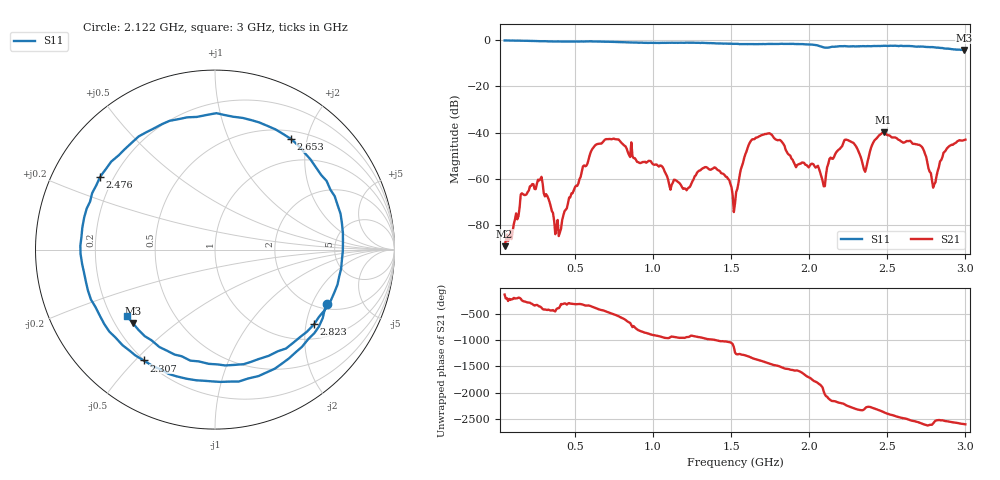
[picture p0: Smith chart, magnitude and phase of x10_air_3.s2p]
! nanovna_capture.py 2026-10-18T20:26:00+0900
! NanoVNA-F_V2 fw 0.6.0 SN 4A3639384505514B
! cal: load open short thru cal'ed  over 50000000-3000000000 Hz, 201 points
! points 401, avg 4
! S21: port1 = green ~10 mm H loop (flat, tape), port2 = GSM antenna 20-30 cm away; free air, capture 3
# HZ S RI R 50
! S12 and S22 are not measured (written as 0)
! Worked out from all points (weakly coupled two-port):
!   401 points, 50 MHz to 3 GHz, reference 50 ohm
!   highest |S21| = -39.88 dB at 2.476 GHz (marker M1); lowest = -89.2 dB at 50 MHz (marker M2)
!   lowest |S11| = -4.2 dB at 2.993 GHz (marker M3), VSWR 4.18, Z = 13.6 - j17.9 ohm
!   |S11| at or under -10 dB: nowhere
!   S12 and S22 are empty: the file has one direction only
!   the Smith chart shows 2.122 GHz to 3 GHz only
!   S11 on the Smith chart (normalised r, x): 2.122 GHz: 2.24, -2.61; 2.307 GHz: 0.20, -0.53; 2.476 GHz: 0.15, +0.28; 2.653 GHz: 0.62, +1.73; 2.823 GHz: 1.40, -2.23; 3 GHz: 0.26, -0.32
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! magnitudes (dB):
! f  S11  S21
! 50 MHz  -0.1  -89.2
! 278.6 MHz  -0.4  -60.2
! 396.6 MHz  -0.6  -84.8
! 544.1 MHz  -0.5  -57.0
! 713.8 MHz  -0.7  -42.9
! 1.038 GHz  -1.2  -54.8
! 1.208 GHz  -1.1  -64.3
! 1.407 GHz  -1.4  -55.8
! 1.525 GHz  -1.6  -70.7
! 1.613 GHz  -1.7  -45.2
! 1.695 GHz  -1.7  -41.2
! 2.019 GHz  -1.9  -53.5
! 2.093 GHz  -3.1  -63.3
! 2.122 GHz  -3.2  -53.5
! 2.307 GHz  -2.7  -46.9
! 2.358 GHz  -2.6  -57.0
! 2.476 GHz  -2.4  -39.9
! 2.513 GHz  -2.4  -41.2
! 2.653 GHz  -2.5  -44.1
! 2.823 GHz  -3.2  -56.6
! 2.993 GHz  -4.2  -43.2
! 3 GHz  -4.2  -43.1
